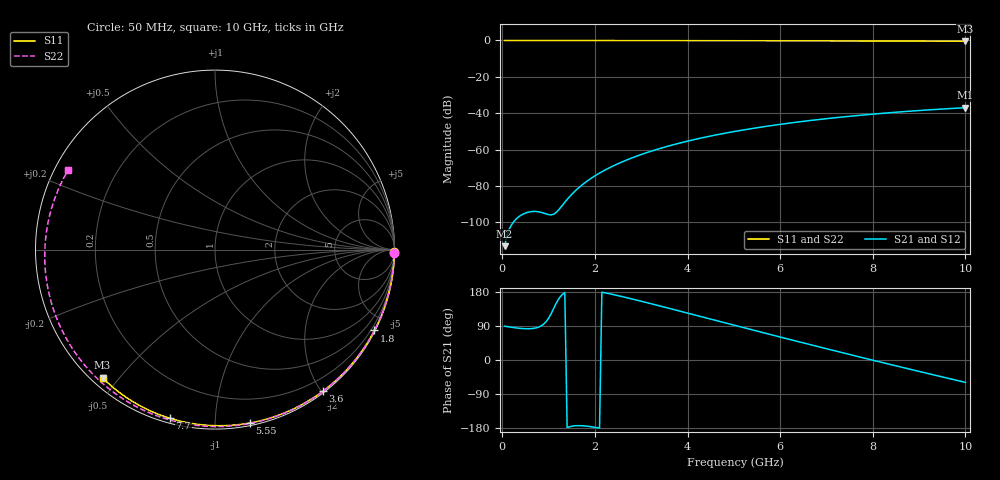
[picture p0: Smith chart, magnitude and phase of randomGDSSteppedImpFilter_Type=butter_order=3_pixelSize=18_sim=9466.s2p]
! freq	dB(S11)	phase(S11)	dB(S12)	phase(S12)
!  dB(S21)	phase(S21)	dB(S22)	phase(S22)
!S-par simulation data
#  GHz  S  DB  R 50
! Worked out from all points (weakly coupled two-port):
!   200 points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, 50 MHz to 10 GHz, reference 50 ohm
!   highest |S21| = -36.97 dB at 10 GHz (marker M1); lowest = -113.1 dB at 50 MHz (marker M2)
!   lowest |S11| = -0.4 dB at 10 GHz (marker M3), VSWR 39.14, Z = 1.54 - j22.6 ohm
!   |S11| at or under -10 dB: nowhere
!   |S22| runs from -0.6 to 0.0 dB; largest |S21 - S12| = 0
!   S11 on the Smith chart (normalised r, x): 50 MHz: open; 1.8 GHz: 0.04, -4.18; 3.6 GHz: 0.02, -2.02; 5.55 GHz: 0.02, -1.22; 7.7 GHz: 0.02, -0.77; 10 GHz: 0.03, -0.45
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0.05  -0.00 -0.8  -113.10 89.1  -113.10 89.1  -0.00 -1.2
0.8  -0.02 -12.1  -94.28 87.6  -94.28 87.6  -0.02 -18.7
1.2  -0.02 -18.0  -93.63 157.6  -93.63 157.6  -0.04 -27.9
1.65  -0.03 -24.7  -80.97 -173.2  -80.97 -173.2  -0.05 -38.2
1.7  -0.03 -25.4  -79.90 -173.3  -79.90 -173.3  -0.05 -39.3
1.75  -0.03 -26.2  -78.88 -173.7  -78.88 -173.7  -0.05 -40.4
1.8  -0.03 -26.9  -77.91 -174.2  -77.91 -174.2  -0.05 -41.5
2.1  -0.04 -31.3  -72.91 -179.8  -72.91 -179.8  -0.06 -48.2
2.5  -0.05 -37.1  -67.73 169.9  -67.73 169.9  -0.07 -57.0
2.9  -0.06 -42.8  -63.61 158.1  -63.61 158.1  -0.08 -65.6
3.4  -0.07 -49.8  -59.42 142.7  -59.42 142.7  -0.10 -76.1
3.6  -0.07 -52.6  -57.96 136.4  -57.96 136.4  -0.11 -80.3
4.3  -0.09 -62.2  -53.61 114.2  -53.61 114.2  -0.13 -94.5
5.05  -0.11 -72.1  -49.88 90.5  -49.88 90.5  -0.17 -109.3
5.55  -0.13 -78.6  -47.79 74.7  -47.79 74.7  -0.19 -118.9
6.1  -0.15 -85.5  -45.77 57.5  -45.77 57.5  -0.23 -129.4
6.7  -0.18 -92.9  -43.86 38.9  -43.86 38.9  -0.27 -140.8
7.2  -0.21 -99.0  -42.45 23.6  -42.45 23.6  -0.31 -150.4
7.7  -0.24 -104.9  -41.20 8.5  -41.20 8.5  -0.36 -160.0
8.35  -0.29 -112.5  -39.76 -11.0  -39.76 -11.0  -0.42 -172.9
9.2  -0.36 -122.2  -38.18 -36.0  -38.18 -36.0  -0.52 169.4
10  -0.44 -131.3  -36.97 -59.1  -36.97 -59.1  -0.62 151.6
